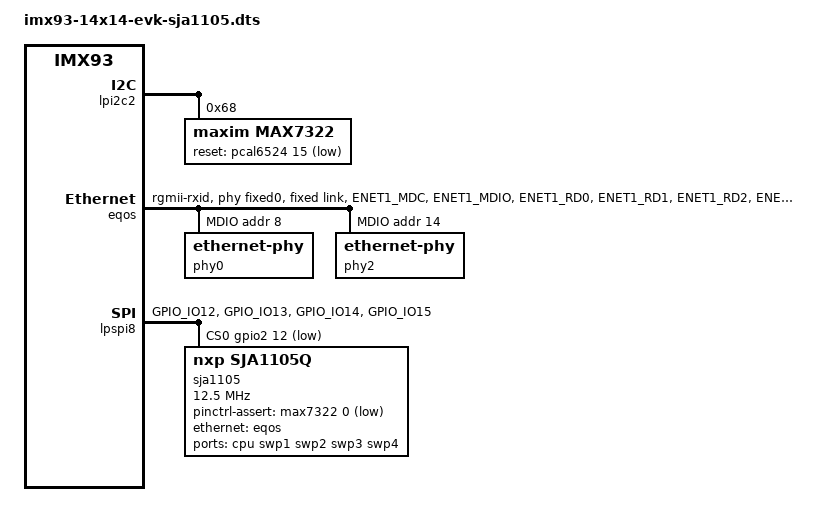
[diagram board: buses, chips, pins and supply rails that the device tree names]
// SPDX-License-Identifier: (GPL-2.0+ OR MIT)
/*
 * Copyright 2023 NXP
 */

#include "imx93-14x14-evk.dts"

/ {
	clock_sja1105: clock-sja1105 {
		compatible = "fixed-clock";
		#clock-cells = <0>;
		clock-frequency = <25000000>;
	};
};

&lpi2c2 {
	max7322: gpio@68 {
		compatible = "maxim,max7322";
		reg = <0x68>;
		gpio-controller;
		#gpio-cells = <2>;
		reset-gpios = <&pcal6524 15 GPIO_ACTIVE_LOW>;
	};
};

&eqos {
	pinctrl-names = "default";
	pinctrl-0 = <&pinctrl_eqos_rgmii>;
	phy-mode = "rgmii-rxid";
	phy-handle = <&fixed0>;
	pinctrl-assert-gpios = <&max7322 0 GPIO_ACTIVE_LOW>;
	clk_csr = <5>;
	status = "okay";

	fixed0: fixed-link {
		speed = <1000>;
		full-duplex;
	};

	mdio {
		compatible = "snps,dwmac-mdio";
		#address-cells = <1>;
		#size-cells = <0>;
		clock-frequency = <2500000>;

		phy0: ethernet-phy@8 {
			reg = <0x8>;
			max-speed = <100>;
			#address-cells = <1>;
			#size-cells = <0>;

			phy1: ethernet-phy@9 {
				reg = <0x9>;
				max-speed = <100>;
			};
		};

		phy2: ethernet-phy@e {
			reg = <0xe>;
			max-speed = <100>;
			#address-cells = <1>;
			#size-cells = <0>;

			phy3: ethernet-phy@f {
				reg = <0xf>;
				max-speed = <100>;
			};
		};

	};
};

&lpspi8 {
	fsl,spi-num-chipselects = <1>;
	pinctrl-names = "default";
	pinctrl-0 = <&pinctrl_lpspi8>;
	assigned-clocks = <&clk IMX93_CLK_LPSPI8>;
	assigned-clock-parents = <&clk IMX93_CLK_SYS_PLL_PFD0_DIV2>;
	assigned-clock-rates = <100000000>;
	cs-gpios = <&gpio2 12 GPIO_ACTIVE_LOW>;
	/delete-property/ dma-names;
	/delete-property/ dmas;
	pinctrl-assert-gpios = <&pcal6524_2 3 GPIO_ACTIVE_LOW>;
	status = "okay";

	sja1105@0 {
		compatible = "nxp,sja1105q";
		reg = <0x0>;
		spi-max-frequency = <12500000>;
		spi-cpha;
		clocks = <&clock_sja1105>;
		pinctrl-assert-gpios = <&max7322 0 GPIO_ACTIVE_LOW>;
		#address-cells = <1>;
		#size-cells = <0>;

		ports {
			#address-cells = <1>;
			#size-cells = <0>;
			port@0 {
				reg = <0>;
				label = "cpu";
				ethernet = <&eqos>;
				phy-mode = "rgmii";
				rx-internal-delay-ps = <2000>;
				tx-internal-delay-ps = <2000>;

				fixed-link {
					speed = <1000>;
					full-duplex;
				};
			};

			port@1 {
				reg = <1>;
				label = "swp1";
				phy-handle = <&phy0>;
				phy-mode = "mii";
			};

			port@2 {
				reg = <2>;
				label = "swp2";
				phy-handle = <&phy1>;
				phy-mode = "mii";
			};

			port@3 {
				reg = <3>;
				label = "swp3";
				phy-handle = <&phy2>;
				phy-mode = "rmii";
			};

			port@4 {
				reg = <4>;
				label = "swp4";
				phy-handle = <&phy3>;
				phy-mode = "rmii";
			};

	       };
	};
};

&iomuxc {
	pinctrl_lpspi8: lpspi8grp {
		fsl,pins = <
			MX93_PAD_GPIO_IO12__GPIO2_IO12          0x3fe
			MX93_PAD_GPIO_IO13__LPSPI8_SIN          0x3fe
			MX93_PAD_GPIO_IO14__LPSPI8_SOUT         0x3fe
			MX93_PAD_GPIO_IO15__LPSPI8_SCK          0x3fe
		>;
	};

	pinctrl_eqos_rgmii: eqosrgmiigrp {
		fsl,pins = <
			MX93_PAD_ENET1_MDC__ENET_QOS_MDC				0x57e
			MX93_PAD_ENET1_MDIO__ENET_QOS_MDIO				0x57e
			MX93_PAD_ENET1_RD0__ENET_QOS_RGMII_RD0				0x57e
			MX93_PAD_ENET1_RD1__ENET_QOS_RGMII_RD1				0x57e
			MX93_PAD_ENET1_RD2__ENET_QOS_RGMII_RD2				0x57e
			MX93_PAD_ENET1_RD3__ENET_QOS_RGMII_RD3				0x57e
			MX93_PAD_ENET1_RXC__CCM_ENET_QOS_CLOCK_GENERATE_RX_CLK		0x57e
			MX93_PAD_ENET1_RX_CTL__ENET_QOS_RGMII_RX_CTL			0x57e
			MX93_PAD_ENET1_TD0__ENET_QOS_RGMII_TD0				0x57e
			MX93_PAD_ENET1_TD1__ENET_QOS_RGMII_TD1				0x57e
			MX93_PAD_ENET1_TD2__ENET_QOS_RGMII_TD2				0x57e
			MX93_PAD_ENET1_TD3__ENET_QOS_RGMII_TD3				0x57e
			MX93_PAD_ENET1_TXC__CCM_ENET_QOS_CLOCK_GENERATE_TX_CLK		0x57e
			MX93_PAD_ENET1_TX_CTL__ENET_QOS_RGMII_TX_CTL			0x57e
		>;
	};
};
